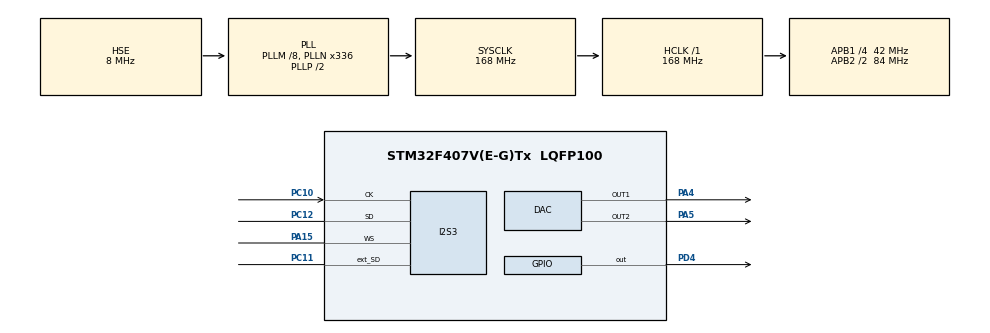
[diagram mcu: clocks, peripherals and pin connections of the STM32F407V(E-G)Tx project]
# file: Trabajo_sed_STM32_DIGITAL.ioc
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Dma.I2S3_EXT_RX.0.Direction=DMA_PERIPH_TO_MEMORY
Dma.I2S3_EXT_RX.0.FIFOMode=DMA_FIFOMODE_DISABLE
Dma.I2S3_EXT_RX.0.Instance=DMA1_Stream0
Dma.I2S3_EXT_RX.0.MemDataAlignment=DMA_MDATAALIGN_HALFWORD
Dma.I2S3_EXT_RX.0.MemInc=DMA_MINC_ENABLE
Dma.I2S3_EXT_RX.0.Mode=DMA_CIRCULAR
Dma.I2S3_EXT_RX.0.PeriphDataAlignment=DMA_PDATAALIGN_HALFWORD
Dma.I2S3_EXT_RX.0.PeriphInc=DMA_PINC_DISABLE
Dma.I2S3_EXT_RX.0.Priority=DMA_PRIORITY_LOW
Dma.Request0=I2S3_EXT_RX
Dma.Request1=SPI3_TX
Dma.SPI3_TX.1.Direction=DMA_MEMORY_TO_PERIPH
Dma.SPI3_TX.1.FIFOMode=DMA_FIFOMODE_DISABLE
Dma.SPI3_TX.1.Instance=DMA1_Stream7
Dma.SPI3_TX.1.MemDataAlignment=DMA_MDATAALIGN_HALFWORD
Dma.SPI3_TX.1.MemInc=DMA_MINC_ENABLE
Dma.SPI3_TX.1.Mode=DMA_CIRCULAR
Dma.SPI3_TX.1.PeriphDataAlignment=DMA_PDATAALIGN_HALFWORD
Dma.SPI3_TX.1.PeriphInc=DMA_PINC_DISABLE
Dma.SPI3_TX.1.Priority=DMA_PRIORITY_LOW
I2S3.AudioFreq=I2S_AUDIOFREQ_48K
I2S3.ErrorAudioFreq=-0.79 %
I2S3.FullDuplexMode=I2S_FULLDUPLEXMODE_ENABLE
I2S3.Instance=SPI$Index
I2S3.RealAudioFreq=47.619 KHz
I2S3.VirtualMode=I2S_MODE_SLAVE
Mcu.Family=STM32F4
Mcu.Name=STM32F407V(E-G)Tx
Mcu.Package=LQFP100
NVIC.DMA1_Stream0_IRQn=true\:0\:0\:false\:false\:true\:false\:true
NVIC.DMA1_Stream7_IRQn=true\:0\:0\:false\:false\:true\:false\:true
NVIC.PriorityGroup=NVIC_PRIORITYGROUP_0
PA15.Mode=Full_Duplex_Slave
PA15.Signal=I2S3_WS
PA4.Signal=COMP_DAC1_group
PA5.Signal=COMP_DAC2_group
PC10.Mode=Full_Duplex_Slave
PC10.Signal=I2S3_CK
PC11.Mode=Full_Duplex_Slave
PC11.Signal=I2S3_ext_SD
PC12.Mode=Full_Duplex_Slave
PC12.Signal=I2S3_SD
PD4.PinState=GPIO_PIN_SET
PD4.Signal=GPIO_Output
PH0-OSC_IN.Mode=HSE-External-Oscillator
PH0-OSC_IN.Signal=RCC_OSC_IN
PH1-OSC_OUT.Mode=HSE-External-Oscillator
PH1-OSC_OUT.Signal=RCC_OSC_OUT
ProjectManager.HeapSize=0x200
ProjectManager.StackSize=0x400
ProjectManager.TargetToolchain=STM32CubeIDE
RCC.48MHZClocksFreq_Value=48000000
RCC.AHBFreq_Value=168000000
RCC.APB1CLKDivider=RCC_HCLK_DIV4
RCC.APB1Freq_Value=42000000
RCC.APB1TimFreq_Value=84000000
RCC.APB2CLKDivider=RCC_HCLK_DIV2
RCC.APB2Freq_Value=84000000
RCC.APB2TimFreq_Value=168000000
RCC.CortexFreq_Value=168000000
RCC.HCLKFreq_Value=168000000
RCC.HSE_VALUE=8000000
RCC.HSI_VALUE=16000000
RCC.LSE_VALUE=32768
RCC.PLLM=8
RCC.PLLN=336
RCC.PLLQ=7
RCC.PLLSourceVirtual=RCC_PLLSOURCE_HSE
RCC.SYSCLKFreq_VALUE=168000000
RCC.SYSCLKSource=RCC_SYSCLKSOURCE_PLLCLK
RCC.VCOOutputFreq_Value=336000000
SH.COMP_DAC1_group.0=DAC_OUT1,DAC_OUT1
SH.COMP_DAC2_group.0=DAC_OUT2,DAC_OUT2
board=STM32F407G-DISC1

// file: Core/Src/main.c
/* USER CODE BEGIN Header */
/**
  ******************************************************************************
  * @file           : main.c
  * @brief          : Main program body
  ******************************************************************************
  * @attention
  *
  * Copyright (c) 2021 STMicroelectronics.
  * All rights reserved.
  *
  * This software is licensed under terms that can be found in the LICENSE file
  * in the root directory of this software component.
  * If no LICENSE file comes with this software, it is provided AS-IS.
  *
  ******************************************************************************
  */
/* USER CODE END Header */
#include "main.h"

DAC_HandleTypeDef hdac;

I2S_HandleTypeDef hi2s3;
DMA_HandleTypeDef hdma_i2s3_ext_rx;
DMA_HandleTypeDef hdma_spi3_tx;

void SystemClock_Config(void);
static void MX_GPIO_Init(void);
static void MX_DMA_Init(void);
static void MX_I2S3_Init(void);
static void MX_DAC_Init(void);

/* USER CODE BEGIN 0 */
uint16_t bufferTx[4];
uint16_t bufferRx[4];
uint16_t senal_mono;

/* USER CODE END 0 */

int main(void)
{

  /* MCU Configuration--------------------------------------------------------*/

  /* Reset of all peripherals, Initializes the Flash interface and the Systick. */
  HAL_Init();

  /* Configure the system clock */
  SystemClock_Config();

  /* Initialize all configured peripherals */
  MX_GPIO_Init();
  MX_DMA_Init();
  MX_I2S3_Init();
  MX_DAC_Init();
  /* USER CODE BEGIN 2 */
  HAL_I2SEx_TransmitReceive_DMA(&hi2s3, bufferTx, bufferRx, 4);
  HAL_DAC_Start(&hdac, DAC_CHANNEL_1);//empezar a decodificar
  HAL_DAC_Start(&hdac, DAC_CHANNEL_2);//empezar a decodificar
  /* USER CODE END 2 */

  /* Infinite loop */
  while (1)
  {

  }
}

void SystemClock_Config(void)
{
  RCC_OscInitTypeDef RCC_OscInitStruct = {0};
  RCC_ClkInitTypeDef RCC_ClkInitStruct = {0};

  /** Configure the main internal regulator output voltage
  */
  __HAL_RCC_PWR_CLK_ENABLE();
  __HAL_PWR_VOLTAGESCALING_CONFIG(PWR_REGULATOR_VOLTAGE_SCALE1);
  /** Initializes the RCC Oscillators according to the specified parameters
  * in the RCC_OscInitTypeDef structure.
  */
  RCC_OscInitStruct.OscillatorType = RCC_OSCILLATORTYPE_HSE;
  RCC_OscInitStruct.HSEState = RCC_HSE_ON;
  RCC_OscInitStruct.PLL.PLLState = RCC_PLL_ON;
  RCC_OscInitStruct.PLL.PLLSource = RCC_PLLSOURCE_HSE;
  RCC_OscInitStruct.PLL.PLLM = 8;
  RCC_OscInitStruct.PLL.PLLN = 336;
  RCC_OscInitStruct.PLL.PLLP = RCC_PLLP_DIV2;
  RCC_OscInitStruct.PLL.PLLQ = 7;
  if (HAL_RCC_OscConfig(&RCC_OscInitStruct) != HAL_OK)
  {
    Error_Handler();
  }
  /** Initializes the CPU, AHB and APB buses clocks
  */
  RCC_ClkInitStruct.ClockType = RCC_CLOCKTYPE_HCLK|RCC_CLOCKTYPE_SYSCLK
                              |RCC_CLOCKTYPE_PCLK1|RCC_CLOCKTYPE_PCLK2;
  RCC_ClkInitStruct.SYSCLKSource = RCC_SYSCLKSOURCE_PLLCLK;
  RCC_ClkInitStruct.AHBCLKDivider = RCC_SYSCLK_DIV1;
  RCC_ClkInitStruct.APB1CLKDivider = RCC_HCLK_DIV4;
  RCC_ClkInitStruct.APB2CLKDivider = RCC_HCLK_DIV2;

  if (HAL_RCC_ClockConfig(&RCC_ClkInitStruct, FLASH_LATENCY_5) != HAL_OK)
  {
    Error_Handler();
  }
}

static void MX_DAC_Init(void)
{

  DAC_ChannelConfTypeDef sConfig = {0};

  /** DAC Initialization
  */
  hdac.Instance = DAC;
  if (HAL_DAC_Init(&hdac) != HAL_OK)
  {
    Error_Handler();
  }
  /** DAC channel OUT1 config
  */
  sConfig.DAC_Trigger = DAC_TRIGGER_NONE;
  sConfig.DAC_OutputBuffer = DAC_OUTPUTBUFFER_ENABLE;
  if (HAL_DAC_ConfigChannel(&hdac, &sConfig, DAC_CHANNEL_1) != HAL_OK)
  {
    Error_Handler();
  }
  /** DAC channel OUT2 config
  */
  if (HAL_DAC_ConfigChannel(&hdac, &sConfig, DAC_CHANNEL_2) != HAL_OK)
  {
    Error_Handler();
  }

}

static void MX_I2S3_Init(void)
{

  hi2s3.Instance = SPI3;
  hi2s3.Init.Mode = I2S_MODE_SLAVE_TX;
  hi2s3.Init.Standard = I2S_STANDARD_PHILIPS;
  hi2s3.Init.DataFormat = I2S_DATAFORMAT_16B;
  hi2s3.Init.MCLKOutput = I2S_MCLKOUTPUT_DISABLE;
  hi2s3.Init.AudioFreq = I2S_AUDIOFREQ_48K;
  hi2s3.Init.CPOL = I2S_CPOL_LOW;
  hi2s3.Init.ClockSource = I2S_CLOCK_PLL;
  hi2s3.Init.FullDuplexMode = I2S_FULLDUPLEXMODE_ENABLE;
  if (HAL_I2S_Init(&hi2s3) != HAL_OK)
  {
    Error_Handler();
  }

}

static void MX_DMA_Init(void)
{

  /* DMA controller clock enable */
  __HAL_RCC_DMA1_CLK_ENABLE();

  /* DMA interrupt init */
  /* DMA1_Stream0_IRQn interrupt configuration */
  HAL_NVIC_SetPriority(DMA1_Stream0_IRQn, 0, 0);
  HAL_NVIC_EnableIRQ(DMA1_Stream0_IRQn);
  /* DMA1_Stream7_IRQn interrupt configuration */
  HAL_NVIC_SetPriority(DMA1_Stream7_IRQn, 0, 0);
  HAL_NVIC_EnableIRQ(DMA1_Stream7_IRQn);

}

static void MX_GPIO_Init(void)
{
  GPIO_InitTypeDef GPIO_InitStruct = {0};

  /* GPIO Ports Clock Enable */
  __HAL_RCC_GPIOH_CLK_ENABLE();
  __HAL_RCC_GPIOA_CLK_ENABLE();
  __HAL_RCC_GPIOC_CLK_ENABLE();
  __HAL_RCC_GPIOD_CLK_ENABLE();

  /*Configure GPIO pin Output Level */
  HAL_GPIO_WritePin(GPIOD, GPIO_PIN_4, GPIO_PIN_SET);

  /*Configure GPIO pin : PD4 */
  GPIO_InitStruct.Pin = GPIO_PIN_4;
  GPIO_InitStruct.Mode = GPIO_MODE_OUTPUT_PP;
  GPIO_InitStruct.Pull = GPIO_NOPULL;
  GPIO_InitStruct.Speed = GPIO_SPEED_FREQ_LOW;
  HAL_GPIO_Init(GPIOD, &GPIO_InitStruct);

}

/* USER CODE BEGIN 4 */

void HAL_I2SEx_TxRxHalfCpltCallback(I2S_HandleTypeDef *hi2s){

	uint16_t canal_l = bufferRx[0];
	uint16_t canal_r = bufferRx[1];

	HAL_DAC_SetValue(&hdac, DAC_CHANNEL_1, DAC_ALIGN_12B_R, canal_l);
	HAL_DAC_SetValue(&hdac, DAC_CHANNEL_2, DAC_ALIGN_12B_R, canal_r);

	//conversion a mono
	canal_l = canal_l >> 1;//dividir por dos la energia de la señal
	canal_r = canal_r >> 1;
	senal_mono = canal_l + canal_r;
}

void HAL_I2SEx_TxRxCpltCallback(I2S_HandleTypeDef *hi2s){

	uint16_t canal_l = bufferRx[2];
	uint16_t canal_r = bufferRx[3];

	HAL_DAC_SetValue(&hdac, DAC_CHANNEL_1, DAC_ALIGN_12B_R, canal_l);
	HAL_DAC_SetValue(&hdac, DAC_CHANNEL_2, DAC_ALIGN_12B_R, canal_r);

	//conversion a mono
	canal_l = canal_l >> 1;//dividir por dos la energia de la señal
	canal_r = canal_r >> 1;
	senal_mono = canal_l + canal_r;
}

/* USER CODE END 4 */

void Error_Handler(void)
{
  __disable_irq();
  while (1)
  {
  }
}
